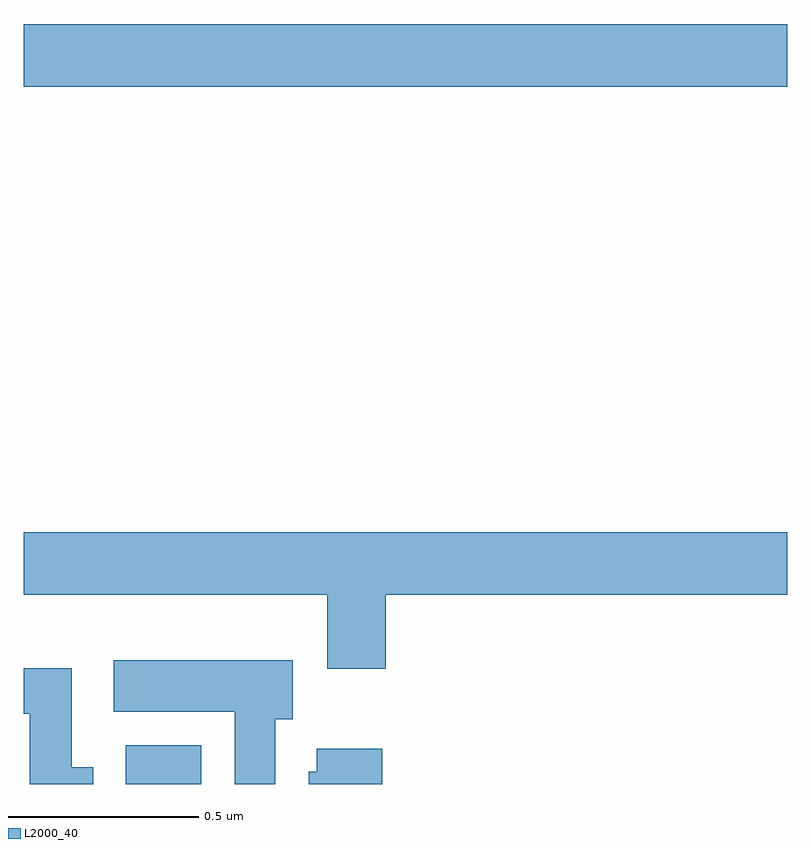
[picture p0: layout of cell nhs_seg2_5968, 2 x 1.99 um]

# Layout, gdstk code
import gdstk
lib = gdstk.Library(unit=1e-6, precision=1e-09)
def R(c, l, rs):  # rectangles x0, y0, x1, y1
    for r in rs: c.add(gdstk.rectangle(r[:2], r[2:], *l))
def P(c, l, *ps):  # polygons
    for p in ps: c.add(gdstk.Polygon(p, *l))
L2000_40 = (2000, 40)

nhs_seg2_5968 = lib.new_cell('nhs_seg2_5968')
R(nhs_seg2_5968, L2000_40, [(185.267,653.8,185.464,653.902), (185,655.628,187,655.792)])
P(nhs_seg2_5968, L2000_40, [(185.948,654.296),(187,654.296),(187,654.46),(185,654.46),(185,654.296),(185.795,654.296),(185.795,654.102),(185.948,654.102)],
  [(185.659,653.97),(185.704,653.97),(185.704,654.124),(185.235,654.124),(185.235,653.99),(185.552,653.99),(185.552,653.8),(185.659,653.8)],
  [(185.182,653.844),(185.125,653.844),(185.125,654.103),(185,654.103),(185,653.984),(185.015,653.984),(185.015,653.8),(185.182,653.8)],
  [(185.939,653.893),(185.768,653.893),(185.768,653.832),(185.747,653.832),(185.747,653.8),(185.939,653.8)])

lib.write_gds('nhs_seg2_5968.gds')
